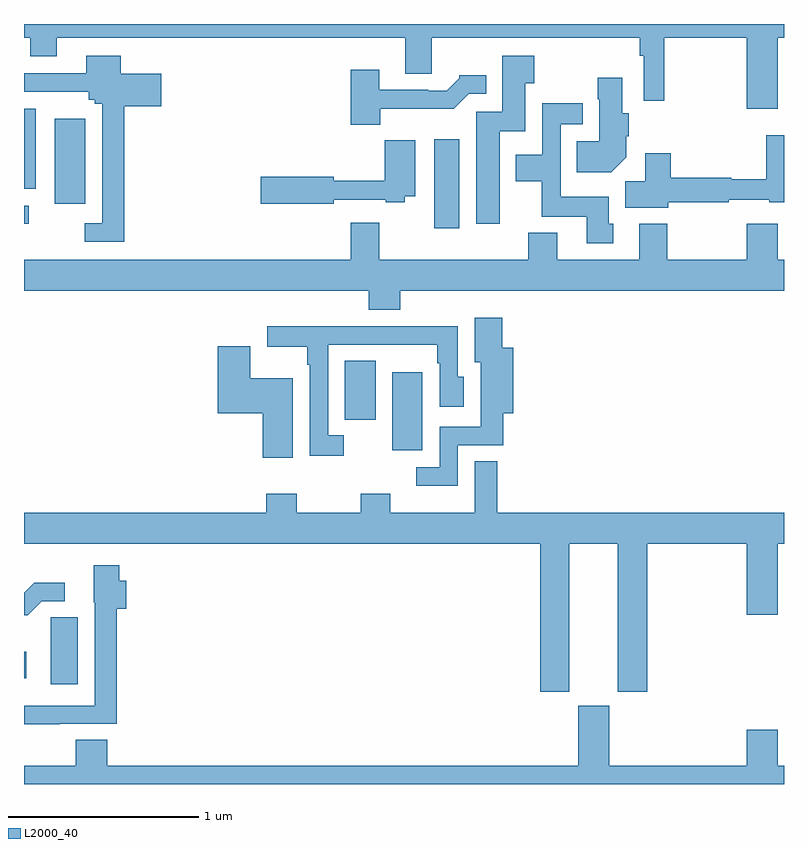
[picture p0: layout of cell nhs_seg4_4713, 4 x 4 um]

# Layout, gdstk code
import gdstk
lib = gdstk.Library(unit=1e-6, precision=1e-09)
def R(c, l, rs):  # rectangles x0, y0, x1, y1
    for r in rs: c.add(gdstk.rectangle(r[:2], r[2:], *l))
def P(c, l, *ps):  # polygons
    for p in ps: c.add(gdstk.Polygon(p, *l))
L2000_40 = (2000, 40)

nhs_seg4_4713 = lib.new_cell('nhs_seg4_4713')
R(nhs_seg4_4713, L2000_40, [(365,785.456,365.011,785.596), (366.938,786.657,367.096,787.066), (366.689,786.816,366.85,787.127), (367.16,787.824,367.291,788.293), (365,787.848,365.026,787.944), (365.162,787.953,365.323,788.401), (365,788.033,365.062,788.455)])
P(nhs_seg4_4713, L2000_40, [(368.968,788.828),(369,788.828),(369,788.9),(365,788.9),(365,788.828),(365.033,788.828),(365.033,788.729),(365.173,788.729),(365.173,788.828),(367.007,788.828),(367.007,788.638),(367.147,788.638),(367.147,788.828),(368.242,788.828),(368.242,788.732),(368.262,788.732),(368.262,788.496),(368.371,788.496),(368.371,788.828),(368.804,788.828),(368.804,788.454),(368.968,788.454)],
  [(365.528,788.468),(365.722,788.468),(365.722,788.638),(365.509,788.638),(365.509,788.734),(365.327,788.734),(365.327,788.64),(365,788.64),(365,788.544),(365.342,788.544),(365.342,788.502),(365.373,788.502),(365.373,788.48),(365.412,788.48),(365.412,787.851),(365.319,787.851),(365.319,787.755),(365.528,787.755)],
  [(367.504,788.336),(367.639,788.336),(367.639,788.587),(367.686,788.587),(367.686,788.734),(367.517,788.734),(367.517,788.439),(367.379,788.439),(367.379,787.848),(367.504,787.848)],
  [(366.874,788.454),(367.263,788.454),(367.341,788.532),(367.432,788.532),(367.432,788.629),(367.29,788.629),(367.29,788.614),(367.226,788.55),(367.127,788.55),(367.127,788.553),(366.871,788.553),(366.871,788.659),(366.719,788.659),(366.719,788.369),(366.874,788.369)],
  [(368.17,788.198),(368.17,788.308),(368.183,788.308),(368.183,788.43),(368.149,788.43),(368.149,788.617),(368.02,788.617),(368.02,788.504),(368.027,788.504),(368.027,788.284),(367.909,788.284),(367.909,788.12),(368.092,788.12)],
  [(368.101,787.848),(368.077,787.848),(368.077,787.99),(367.824,787.99),(367.824,788.373),(367.942,788.373),(367.942,788.482),(367.728,788.482),(367.728,788.212),(367.589,788.212),(367.589,788.072),(367.726,788.072),(367.726,787.886),(367.961,787.886),(367.961,787.746),(368.101,787.746)],
  [(368.392,787.962),(368.708,787.962),(368.708,787.974),(368.922,787.974),(368.922,787.961),(369,787.961),(369,788.314),(368.906,788.314),(368.906,788.083),(368.722,788.083),(368.722,788.09),(368.405,788.09),(368.405,788.221),(368.27,788.221),(368.27,788.072),(368.165,788.072),(368.165,787.934),(368.392,787.934)],
  [(366.63,787.974),(366.905,787.974),(366.905,787.962),(367.005,787.962),(367.005,787.994),(367.06,787.994),(367.06,788.287),(366.898,788.287),(366.898,788.075),(366.63,788.075),(366.63,788.096),(366.246,788.096),(366.246,787.954),(366.63,787.954)],
  [(366.98,787.496),(369,787.496),(369,787.66),(368.968,787.66),(368.968,787.849),(368.804,787.849),(368.804,787.66),(368.385,787.66),(368.385,787.849),(368.237,787.849),(368.237,787.66),(367.807,787.66),(367.807,787.801),(367.655,787.801),(367.655,787.66),(366.871,787.66),(366.871,787.855),(366.719,787.855),(366.719,787.66),(365,787.66),(365,787.496),(366.815,787.496),(366.815,787.397),(366.98,787.397)],
  [(367.284,786.684),(367.522,786.684),(367.522,786.851),(367.574,786.851),(367.574,787.195),(367.517,787.195),(367.517,787.354),(367.373,787.354),(367.373,787.121),(367.403,787.121),(367.403,786.78),(367.188,786.78),(367.188,786.567),(367.065,786.567),(367.065,786.47),(367.284,786.47)],
  [(366.682,786.735),(366.6,786.735),(366.6,787.212),(366.946,787.212),(366.946,787.211),(367.176,787.211),(367.176,787.115),(367.188,787.115),(367.188,786.885),(367.315,786.885),(367.315,787.044),(367.284,787.044),(367.284,787.31),(367.063,787.31),(367.063,787.308),(366.697,787.308),(366.697,787.31),(366.279,787.31),(366.279,787.202),(366.492,787.202),(366.492,787.106),(366.504,787.106),(366.504,786.627),(366.682,786.627)],
  [(366.415,787.036),(366.19,787.036),(366.19,787.204),(366.02,787.204),(366.02,786.851),(366.257,786.851),(366.257,786.618),(366.415,786.618)],
  [(367.87,786.164),(368.126,786.164),(368.126,785.385),(368.279,785.385),(368.279,786.164),(368.804,786.164),(368.804,785.79),(368.968,785.79),(368.968,786.164),(369,786.164),(369,786.328),(367.492,786.328),(367.492,786.599),(367.373,786.599),(367.373,786.328),(366.927,786.328),(366.927,786.427),(366.772,786.427),(366.772,786.328),(366.435,786.328),(366.435,786.427),(366.275,786.427),(366.275,786.328),(365,786.328),(365,786.164),(367.718,786.164),(367.718,785.385),(367.87,785.385)],
  [(365.189,785.217),(365.489,785.217),(365.489,785.822),(365.537,785.822),(365.537,785.97),(365.502,785.97),(365.502,786.052),(365.366,786.052),(365.366,785.856),(365.373,785.856),(365.373,785.313),(365,785.313),(365,785.215),(365.189,785.215)],
  [(365.094,785.862),(365.215,785.862),(365.215,785.959),(365.053,785.959),(365,785.906),(365,785.789),(365.021,785.789)],
  [(365.284,785.777),(365.142,785.777),(365.142,785.666),(365.141,785.666),(365.141,785.424),(365.284,785.424)],
  [(369,784.996),(368.968,784.996),(368.968,785.185),(368.804,785.185),(368.804,784.996),(368.08,784.996),(368.08,785.313),(367.916,785.313),(367.916,784.996),(365.438,784.996),(365.438,785.132),(365.273,785.132),(365.273,784.996),(365,784.996),(365,784.9),(369,784.9)])

lib.write_gds('nhs_seg4_4713.gds')
